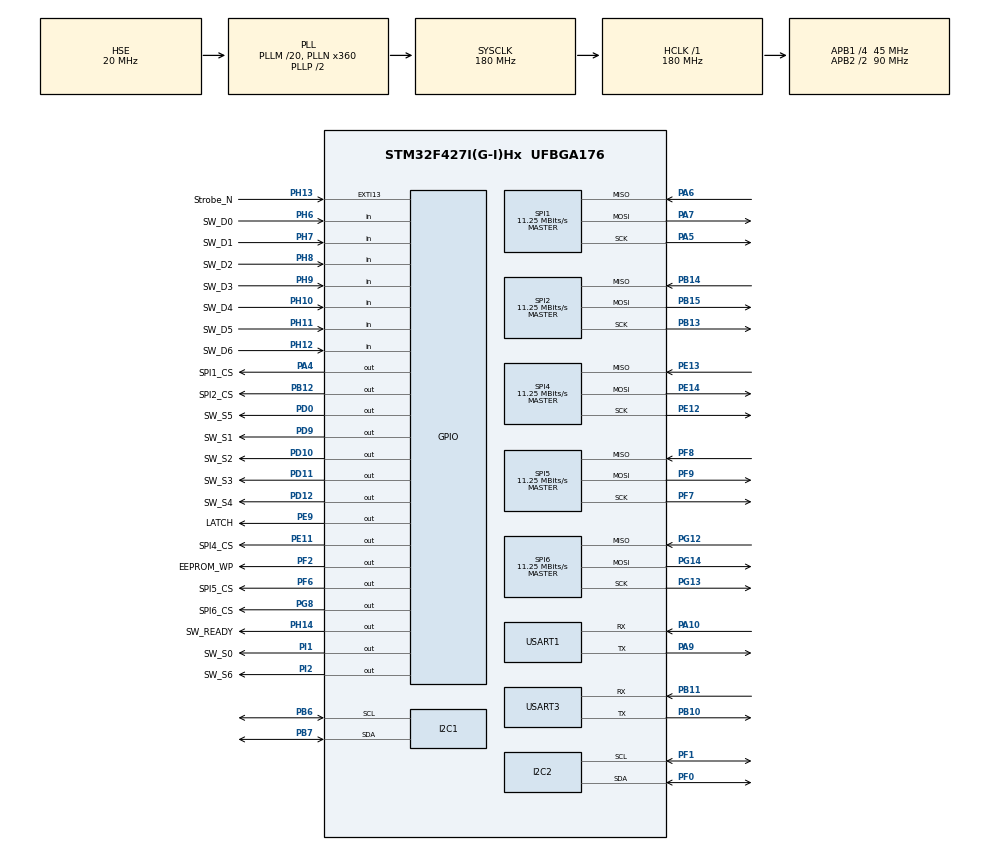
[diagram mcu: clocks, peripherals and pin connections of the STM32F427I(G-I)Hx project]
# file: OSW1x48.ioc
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ADC1.Channel-0\#ChannelRegularConversion=ADC_CHANNEL_TEMPSENSOR
ADC1.NbrOfConversionFlag=1
ADC1.Rank-0\#ChannelRegularConversion=1
ADC1.SamplingTime-0\#ChannelRegularConversion=ADC_SAMPLETIME_3CYCLES
ADC1.master=1
Dma.Request0=USART1_RX
Dma.USART1_RX.0.Direction=DMA_PERIPH_TO_MEMORY
Dma.USART1_RX.0.FIFOMode=DMA_FIFOMODE_DISABLE
Dma.USART1_RX.0.Instance=DMA2_Stream2
Dma.USART1_RX.0.MemDataAlignment=DMA_MDATAALIGN_BYTE
Dma.USART1_RX.0.MemInc=DMA_MINC_ENABLE
Dma.USART1_RX.0.Mode=DMA_NORMAL
Dma.USART1_RX.0.PeriphDataAlignment=DMA_PDATAALIGN_BYTE
Dma.USART1_RX.0.PeriphInc=DMA_PINC_DISABLE
Dma.USART1_RX.0.Priority=DMA_PRIORITY_VERY_HIGH
FREERTOS.Tasks01=defaultTask,24,128,StartDefaultTask,Default,NULL,Dynamic,NULL,NULL
IWDG.Prescaler=IWDG_PRESCALER_32
IWDG.Reload=1500
Mcu.Family=STM32F4
Mcu.Name=STM32F427I(G-I)Hx
Mcu.Package=UFBGA176
NVIC.DMA2_Stream2_IRQn=true\:5\:0\:false\:false\:true\:true\:false\:true
NVIC.EXTI15_10_IRQn=true\:5\:0\:false\:false\:true\:true\:true\:true
NVIC.FLASH_IRQn=true\:5\:0\:false\:false\:true\:true\:true\:true
NVIC.PriorityGroup=NVIC_PRIORITYGROUP_4
NVIC.TIM1_TRG_COM_TIM11_IRQn=true\:0\:0\:false\:false\:true\:false\:false\:true
NVIC.TIM6_DAC_IRQn=true\:5\:0\:false\:false\:true\:true\:true\:true
NVIC.TimeBase=TIM1_TRG_COM_TIM11_IRQn
NVIC.TimeBaseIP=TIM11
NVIC.USART1_IRQn=true\:5\:0\:false\:false\:true\:true\:true\:true
PA10.Mode=Asynchronous
PA10.Signal=USART1_RX
PA4.GPIO_Label=SPI1_CS
PA4.GPIO_PuPd=GPIO_PULLUP
PA4.Signal=GPIO_Output
PA5.Mode=Full_Duplex_Master
PA5.Signal=SPI1_SCK
PA6.Mode=Full_Duplex_Master
PA6.Signal=SPI1_MISO
PA7.Mode=Full_Duplex_Master
PA7.Signal=SPI1_MOSI
PA9.Mode=Asynchronous
PA9.Signal=USART1_TX
PB10.Mode=Asynchronous
PB10.Signal=USART3_TX
PB11.Mode=Asynchronous
PB11.Signal=USART3_RX
PB12.GPIO_Label=SPI2_CS
PB12.GPIO_PuPd=GPIO_PULLUP
PB12.Signal=GPIO_Output
PB13.Mode=Full_Duplex_Master
PB13.Signal=SPI2_SCK
PB14.Mode=Full_Duplex_Master
PB14.Signal=SPI2_MISO
PB15.Mode=Full_Duplex_Master
PB15.Signal=SPI2_MOSI
PB6.Mode=I2C
PB6.Signal=I2C1_SCL
PB7.Mode=I2C
PB7.Signal=I2C1_SDA
PC14/OSC32_IN.Mode=LSE-External-Oscillator
PC14/OSC32_IN.Signal=RCC_OSC32_IN
PC15/OSC32_OUT.Mode=LSE-External-Oscillator
PC15/OSC32_OUT.Signal=RCC_OSC32_OUT
PD0.GPIO_Label=SW_S5
PD0.GPIO_PuPd=GPIO_PULLUP
PD0.Signal=GPIO_Output
PD10.GPIO_Label=SW_S2
PD10.GPIO_PuPd=GPIO_PULLUP
PD10.Signal=GPIO_Output
PD11.GPIO_Label=SW_S3
PD11.GPIO_PuPd=GPIO_PULLUP
PD11.Signal=GPIO_Output
PD12.GPIO_Label=SW_S4
PD12.GPIO_PuPd=GPIO_PULLUP
PD12.Signal=GPIO_Output
PD9.GPIO_Label=SW_S1
PD9.GPIO_PuPd=GPIO_PULLUP
PD9.Signal=GPIO_Output
PE11.GPIO_Label=SPI4_CS
PE11.GPIO_PuPd=GPIO_PULLUP
PE11.Signal=GPIO_Output
PE12.Mode=Full_Duplex_Master
PE12.Signal=SPI4_SCK
PE13.Mode=Full_Duplex_Master
PE13.Signal=SPI4_MISO
PE14.Mode=Full_Duplex_Master
PE14.Signal=SPI4_MOSI
PE9.GPIO_Label=LATCH
PE9.Signal=GPIO_Output
PF0.Mode=I2C
PF0.Signal=I2C2_SDA
PF1.Mode=I2C
PF1.Signal=I2C2_SCL
PF2.GPIO_Label=EEPROM_WP
PF2.GPIO_PuPd=GPIO_PULLUP
PF2.Signal=GPIO_Output
PF6.GPIO_Label=SPI5_CS
PF6.GPIO_PuPd=GPIO_PULLUP
PF6.Signal=GPIO_Output
PF7.Mode=Full_Duplex_Master
PF7.Signal=SPI5_SCK
PF8.Mode=Full_Duplex_Master
PF8.Signal=SPI5_MISO
PF9.Mode=Full_Duplex_Master
PF9.Signal=SPI5_MOSI
PG12.Mode=Full_Duplex_Master
PG12.Signal=SPI6_MISO
PG13.Mode=Full_Duplex_Master
PG13.Signal=SPI6_SCK
PG14.Mode=Full_Duplex_Master
PG14.Signal=SPI6_MOSI
PG8.GPIO_Label=SPI6_CS
PG8.GPIO_PuPd=GPIO_PULLUP
PG8.Signal=GPIO_Output
PH0/OSC_IN.Mode=HSE-External-Oscillator
PH0/OSC_IN.Signal=RCC_OSC_IN
PH1/OSC_OUT.Mode=HSE-External-Oscillator
PH1/OSC_OUT.Signal=RCC_OSC_OUT
PH10.GPIO_Label=SW_D4
PH10.Signal=GPIO_Input
PH11.GPIO_Label=SW_D5
PH11.Signal=GPIO_Input
PH12.GPIO_Label=SW_D6
PH12.Signal=GPIO_Input
PH13.GPIO_Label=Strobe_N
PH13.GPIO_ModeDefaultEXTI=GPIO_MODE_IT_FALLING
PH13.GPIO_PuPd=GPIO_PULLUP
PH13.Signal=GPXTI13
PH14.GPIO_Label=SW_READY
PH14.GPIO_PuPd=GPIO_PULLUP
PH14.Signal=GPIO_Output
PH6.GPIO_Label=SW_D0
PH6.Signal=GPIO_Input
PH7.GPIO_Label=SW_D1
PH7.Signal=GPIO_Input
PH8.GPIO_Label=SW_D2
PH8.Signal=GPIO_Input
PH9.GPIO_Label=SW_D3
PH9.Signal=GPIO_Input
PI1.GPIO_Label=SW_S0
PI1.GPIO_PuPd=GPIO_PULLUP
PI1.Signal=GPIO_Output
PI2.GPIO_Label=SW_S6
PI2.GPIO_PuPd=GPIO_PULLUP
PI2.Signal=GPIO_Output
ProjectManager.HeapSize=0x200
ProjectManager.StackSize=0x400
ProjectManager.TargetToolchain=MDK-ARM V5
RCC.48MHZClocksFreq_Value=90000000
RCC.AHBFreq_Value=180000000
RCC.APB1CLKDivider=RCC_HCLK_DIV4
RCC.APB1Freq_Value=45000000
RCC.APB1TimFreq_Value=90000000
RCC.APB2CLKDivider=RCC_HCLK_DIV2
RCC.APB2Freq_Value=90000000
RCC.APB2TimFreq_Value=180000000
RCC.CortexFreq_Value=180000000
RCC.HCLKFreq_Value=180000000
RCC.HSE_VALUE=20000000
RCC.HSI_VALUE=16000000
RCC.PLLM=20
RCC.PLLN=360
RCC.PLLSourceVirtual=RCC_PLLSOURCE_HSE
RCC.RCC_RTC_Clock_Source=RCC_RTCCLKSOURCE_LSI
RCC.RCC_RTC_Clock_SourceVirtual=RCC_RTCCLKSOURCE_LSE
RCC.SYSCLKFreq_VALUE=180000000
RCC.SYSCLKSource=RCC_SYSCLKSOURCE_PLLCLK
RCC.VCOOutputFreq_Value=360000000
RTC.AsynchPrediv=127
RTC.SynchPrediv=249
SPI1.BaudRatePrescaler=SPI_BAUDRATEPRESCALER_8
SPI1.CLKPhase=SPI_PHASE_1EDGE
SPI1.CalculateBaudRate=11.25 MBits/s
SPI1.Direction=SPI_DIRECTION_2LINES
SPI1.Mode=SPI_MODE_MASTER
SPI1.VirtualType=VM_MASTER
SPI2.BaudRatePrescaler=SPI_BAUDRATEPRESCALER_4
SPI2.CalculateBaudRate=11.25 MBits/s
SPI2.Direction=SPI_DIRECTION_2LINES
SPI2.Mode=SPI_MODE_MASTER
SPI2.VirtualType=VM_MASTER
SPI4.BaudRatePrescaler=SPI_BAUDRATEPRESCALER_8
SPI4.CalculateBaudRate=11.25 MBits/s
SPI4.Direction=SPI_DIRECTION_2LINES
SPI4.Mode=SPI_MODE_MASTER
SPI4.VirtualType=VM_MASTER
SPI5.BaudRatePrescaler=SPI_BAUDRATEPRESCALER_8
SPI5.CalculateBaudRate=11.25 MBits/s
SPI5.Direction=SPI_DIRECTION_2LINES
SPI5.Mode=SPI_MODE_MASTER
SPI5.VirtualType=VM_MASTER
SPI6.BaudRatePrescaler=SPI_BAUDRATEPRESCALER_8
SPI6.CalculateBaudRate=11.25 MBits/s
SPI6.Direction=SPI_DIRECTION_2LINES
SPI6.Mode=SPI_MODE_MASTER
SPI6.VirtualType=VM_MASTER
TIM6.Period=99
TIM6.Prescaler=89
USART1.VirtualMode=VM_ASYNC
USART3.VirtualMode=VM_ASYNC
VP_ADC1_TempSens_Input.Mode=IN-TempSens
VP_FREERTOS_VS_CMSIS_V2.Mode=CMSIS_V2
VP_IWDG_VS_IWDG.Mode=IWDG_Activate
VP_RTC_VS_RTC_Activate.Mode=RTC_Enabled
VP_SYS_VS_tim11.Mode=TIM11
VP_TIM6_VS_ClockSourceINT.Mode=Enable_Timer
board=custom

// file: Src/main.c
/* USER CODE BEGIN Header */
/**
  ******************************************************************************
  * @file           : main.c
  * @brief          : Main program body
  ******************************************************************************
  * @attention
  *
  * <h2><center>&copy; Copyright (c) 2020 STMicroelectronics.
  * All rights reserved.</center></h2>
  *
  * This software component is licensed by ST under Ultimate Liberty license
  * SLA0044, the "License"; You may not use this file except in compliance with
  * the License. You may obtain a copy of the License at:
  *                             www.st.com/SLA0044
  *
  ******************************************************************************
  */
/* USER CODE END Header */

#include "main.h"
#include "cmsis_os.h"
#include "adc.h"
#include "dma.h"
#include "i2c.h"
#include "iwdg.h"
#include "rtc.h"
#include "spi.h"
#include "tim.h"
#include "usart.h"
#include "gpio.h"

/* USER CODE BEGIN PV */
uint8_t reset_flag = 0;
uint8_t flash_in_use;
UpgradeFlashState upgrade_status;

RunTimeStatus run_status __attribute__((at(0x2002FC00)));

uint8_t upgrade_bootloader = 0;
uint8_t reserve_empty = 0;
uint8_t lock_debug = 0;

SwTimControl sw_tim_control;
extern osSemaphoreId_t switchSemaphore;
MsgStruct tim_isr_msg;
/* USER CODE END PV */

void SystemClock_Config(void);
void MX_FREERTOS_Init(void);

/* USER CODE BEGIN 0 */
extern UpgradeStruct up_state;
/* USER CODE END 0 */

int main(void)
{

  /* MCU Configuration--------------------------------------------------------*/

  /* Reset of all peripherals, Initializes the Flash interface and the Systick. */
  HAL_Init();

  /* Configure the system clock */
  SystemClock_Config();

  /* Initialize all configured peripherals */
  MX_GPIO_Init();
  MX_DMA_Init();
  MX_ADC1_Init();
  MX_I2C1_Init();
  MX_I2C2_Init();
  MX_IWDG_Init();
  MX_SPI1_Init();
  MX_SPI4_Init();
  MX_SPI5_Init();
  MX_USART1_UART_Init();
  MX_USART3_UART_Init();
  MX_RTC_Init();
  MX_SPI2_Init();
  MX_SPI6_Init();
  MX_TIM6_Init();
  /* USER CODE BEGIN 2 */
  HAL_GPIO_WritePin(SPI1_CS_GPIO_Port, SPI1_CS_Pin, GPIO_PIN_SET);
  HAL_GPIO_WritePin(SPI2_CS_GPIO_Port, SPI2_CS_Pin, GPIO_PIN_SET);
  HAL_GPIO_WritePin(SPI4_CS_GPIO_Port, SPI4_CS_Pin, GPIO_PIN_SET);
  HAL_GPIO_WritePin(SPI5_CS_GPIO_Port, SPI5_CS_Pin, GPIO_PIN_SET);
  HAL_GPIO_WritePin(SPI6_CS_GPIO_Port, SPI6_CS_Pin, GPIO_PIN_SET);

  HAL_GPIO_WritePin(EEPROM_WP_GPIO_Port, EEPROM_WP_Pin, GPIO_PIN_RESET);

  run_status.internal_exp = 0;
  Set_Flag(&run_status.internal_exp, INT_EXP_CONST);
  /* USER CODE END 2 */
  /* Init scheduler */
  osKernelInitialize();

  /* Call init function for freertos objects (in freertos.c) */
  MX_FREERTOS_Init();

  /* Start scheduler */
  osKernelStart();

  /* We should never get here as control is now taken by the scheduler */

  /* Infinite loop */
  while (1)
  {

  }
}

void SystemClock_Config(void)
{
  RCC_OscInitTypeDef RCC_OscInitStruct = {0};
  RCC_ClkInitTypeDef RCC_ClkInitStruct = {0};
  RCC_PeriphCLKInitTypeDef PeriphClkInitStruct = {0};

  /** Configure the main internal regulator output voltage
  */
  __HAL_RCC_PWR_CLK_ENABLE();
  __HAL_PWR_VOLTAGESCALING_CONFIG(PWR_REGULATOR_VOLTAGE_SCALE1);
  /** Initializes the CPU, AHB and APB busses clocks
  */
  RCC_OscInitStruct.OscillatorType = RCC_OSCILLATORTYPE_LSI|RCC_OSCILLATORTYPE_HSE;
  RCC_OscInitStruct.HSEState = RCC_HSE_ON;
  RCC_OscInitStruct.LSIState = RCC_LSI_ON;
  RCC_OscInitStruct.PLL.PLLState = RCC_PLL_ON;
  RCC_OscInitStruct.PLL.PLLSource = RCC_PLLSOURCE_HSE;
  RCC_OscInitStruct.PLL.PLLM = 20;
  RCC_OscInitStruct.PLL.PLLN = 360;
  RCC_OscInitStruct.PLL.PLLP = RCC_PLLP_DIV2;
  RCC_OscInitStruct.PLL.PLLQ = 4;
  if (HAL_RCC_OscConfig(&RCC_OscInitStruct) != HAL_OK)
  {
    Error_Handler();
  }
  /** Activate the Over-Drive mode
  */
  if (HAL_PWREx_EnableOverDrive() != HAL_OK)
  {
    Error_Handler();
  }
  /** Initializes the CPU, AHB and APB busses clocks
  */
  RCC_ClkInitStruct.ClockType = RCC_CLOCKTYPE_HCLK|RCC_CLOCKTYPE_SYSCLK
                              |RCC_CLOCKTYPE_PCLK1|RCC_CLOCKTYPE_PCLK2;
  RCC_ClkInitStruct.SYSCLKSource = RCC_SYSCLKSOURCE_PLLCLK;
  RCC_ClkInitStruct.AHBCLKDivider = RCC_SYSCLK_DIV1;
  RCC_ClkInitStruct.APB1CLKDivider = RCC_HCLK_DIV4;
  RCC_ClkInitStruct.APB2CLKDivider = RCC_HCLK_DIV2;

  if (HAL_RCC_ClockConfig(&RCC_ClkInitStruct, FLASH_LATENCY_5) != HAL_OK)
  {
    Error_Handler();
  }
  PeriphClkInitStruct.PeriphClockSelection = RCC_PERIPHCLK_RTC;
  PeriphClkInitStruct.RTCClockSelection = RCC_RTCCLKSOURCE_LSI;
  if (HAL_RCCEx_PeriphCLKConfig(&PeriphClkInitStruct) != HAL_OK)
  {
    Error_Handler();
  }
}

/* USER CODE BEGIN 4 */

extern RespondStu resp_buf;
void OSW_Init(void)
{
  osStatus_t status;

  // Init device
  HAL_GPIO_WritePin(SW_READY_GPIO_Port, SW_READY_Pin, GPIO_PIN_SET);
  HAL_GPIO_WritePin(SW_S0_GPIO_Port, SW_S0_Pin, GPIO_PIN_SET);
  HAL_GPIO_WritePin(SW_S1_GPIO_Port, SW_S1_Pin, GPIO_PIN_SET);
  HAL_GPIO_WritePin(SW_S2_GPIO_Port, SW_S2_Pin, GPIO_PIN_SET);
  HAL_GPIO_WritePin(SW_S3_GPIO_Port, SW_S3_Pin, GPIO_PIN_SET);
  HAL_GPIO_WritePin(SW_S4_GPIO_Port, SW_S4_Pin, GPIO_PIN_SET);
  HAL_GPIO_WritePin(SW_S5_GPIO_Port, SW_S5_Pin, GPIO_PIN_SET);
  HAL_GPIO_WritePin(SW_S6_GPIO_Port, SW_S6_Pin, GPIO_PIN_SET);
  HAL_GPIO_WritePin(LATCH_GPIO_Port, LATCH_Pin, GPIO_PIN_SET);
  osDelay(pdMS_TO_TICKS(1));
  HAL_GPIO_WritePin(LATCH_GPIO_Port, LATCH_Pin, GPIO_PIN_RESET);
  Init_Run_Status();
  //THROW_LOG("Startup with POWER Reset\n");

  // upgrade
  up_state.run = RUN_MODE_APPLICATION;
  up_state.is_erasing = 0;
  flash_in_use = 0;

  FLASH_If_Init();
  status = Get_Up_Status(&upgrade_status);
  if (status) {
    EPT("Get upgrade status failed, status = %d\n", status);
    THROW_LOG("Get upgrade status failed, status = %d\n", status);
    Set_Flag(&run_status.internal_exp, INT_EXP_INIT);
  }
  EPT("upgrade_status: %#X, %u, %u, %u, %#X, %u, %#X\n", upgrade_status.magic, upgrade_status.run, upgrade_status.flash_empty, upgrade_status.length, upgrade_status.crc32,\
                upgrade_status.factory_length, upgrade_status.factory_crc32);

  if (upgrade_status.magic != UPGRADE_MAGIC) {
    EPT("Verify upgrade magic failed\n");
    THROW_LOG("Verify upgrade magic failed\n");
  }
  switch (upgrade_status.run) {
    case 0:
      EPT("Boot from factory\n");
      up_state.upgrade_addr = APPLICATION_1_ADDRESS;
      up_state.upgrade_sector = APPLICATION_1_SECTOR;
      break;
    case 1:
      EPT("Boot from Application 1\n");
      up_state.upgrade_addr = APPLICATION_2_ADDRESS;
      up_state.upgrade_sector = APPLICATION_2_SECTOR;
      break;
    case 2:
      EPT("Boot from Application 2\n");
      up_state.upgrade_addr = APPLICATION_1_ADDRESS;
      up_state.upgrade_sector = APPLICATION_1_SECTOR;
      break;
    default:
      EPT("f_state.run invalid\n");
      THROW_LOG("f_state.run invalid\n");
      up_state.upgrade_addr = RESERVE_ADDRESS;
      up_state.upgrade_sector = RESERVE_SECTOR;
      break;
  }
  EPT("FLASH->OPTCR = %#X\n", FLASH->OPTCR);
  if (!upgrade_status.flash_empty) {
    // erase flash
    EPT("flash is not empty\n");
    if (up_state.upgrade_addr != RESERVE_ADDRESS) {
      if (FLASH_If_Erase_IT(up_state.upgrade_sector) == FLASHIF_OK) {
        flash_in_use = 1;
        up_state.is_erasing = 1;
        EPT("erase sector...\n");
      } else {
        Set_Flag(&run_status.internal_exp, INT_EXP_UP_ERASE);
      }
    }
  } else {
    EPT("flash is empty\n");
  }

  // enable all channel of dac5504
  RTOS_DAC5504_SPI1_Write(7, 0x3C);
  RTOS_DAC5504_SPI2_Write(7, 0x3C);
  RTOS_DAC5504_SPI5_Write(7, 0x3C);
  RTOS_DAC5504_SPI6_Write(7, 0x3C);
}

extern FLASH_ProcessTypeDef pFlash;
extern osMessageQueueId_t mid_ISR;
extern osMessageQueueId_t mid_SwISR;
extern osSemaphoreId_t logEraseSemaphore;
void HAL_FLASH_EndOfOperationCallback(uint32_t ReturnValue)
{
  MsgStruct isr_msg;
  if (0xFFFFFFFFU == ReturnValue) {
    EPT("Erase flash operation completely\n");
    HAL_FLASH_Lock();
    flash_in_use = 0;
    if (up_state.is_erasing == 0) {
      // send signal to logTask
      //osSemaphoreRelease(logEraseSemaphore);
    } else {
      if (!upgrade_bootloader) {
        upgrade_status.flash_empty = 1;
        up_state.is_erasing = 0;
        isr_msg.type = MSG_TYPE_FLASH_ISR;
        osMessageQueuePut(mid_ISR, &isr_msg, 0U, 0U);
      } else {
        reserve_empty = 1;
        up_state.is_erasing = 0;
      }
    }
  }
}
void HAL_GPIO_EXTI_Callback(uint16_t GPIO_Pin)
{
  MsgStruct isr_msg;

  if (GPIO_Pin == Strobe_N_Pin) {
    isr_msg.type = MSG_TYPE_SWITCH_ISR;
    osMessageQueuePut(mid_ISR, &isr_msg, 0U, 0U);
  }
}

/* USER CODE END 4 */

void HAL_TIM_PeriodElapsedCallback(TIM_HandleTypeDef *htim)
{
  if (htim->Instance == TIM11) {
    HAL_IncTick();
  }
  /* USER CODE BEGIN Callback 1 */
  if (htim->Instance == TIM6) {
    if (++sw_tim_control.counter < sw_tim_control.time) {
    } else {
      HAL_TIM_Base_Stop_IT(&htim6);
      tim_isr_msg.type = MSG_TYPE_SWITCH_DAC_ISR;
      osMessageQueuePut(mid_SwISR, &tim_isr_msg, 0U, 0U);
      sw_tim_control.counter = 0;
    }
  }
  /* USER CODE END Callback 1 */
}

void Error_Handler(void)
{
}

/************************ (C) COPYRIGHT STMicroelectronics *****END OF FILE****/

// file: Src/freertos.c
/* USER CODE BEGIN Header */
/**
  ******************************************************************************
  * File Name          : freertos.c
  * Description        : Code for freertos applications
  ******************************************************************************
  * @attention
  *
  * <h2><center>&copy; Copyright (c) 2020 STMicroelectronics.
  * All rights reserved.</center></h2>
  *
  * This software component is licensed by ST under Ultimate Liberty license
  * SLA0044, the "License"; You may not use this file except in compliance with
  * the License. You may obtain a copy of the License at:
  *                             www.st.com/SLA0044
  *
  ******************************************************************************
  */
/* USER CODE END Header */

#include "FreeRTOS.h"
#include "task.h"
#include "main.h"
#include "cmsis_os.h"

/* USER CODE BEGIN Includes */
#include "command.h"
#include "iwdg.h"
#include "flash_if.h"
#include "functions.h"
#include "tim.h"

/* USER CODE END Includes */

/* USER CODE BEGIN Variables */
osSemaphoreId_t uartProcessSemaphore;
osSemaphoreId_t cmdProcessSemaphore;
osSemaphoreId_t switchSemaphore;

osMessageQueueId_t mid_ISR;                // message queue id
osMessageQueueId_t mid_SwISR;                // message queue id

osMutexId_t i2c1Mutex;
osMutexId_t i2c2Mutex;
osMutexId_t spi1Mutex;
osMutexId_t spi2Mutex;
osMutexId_t spi4Mutex;
osMutexId_t spi5Mutex;
osMutexId_t spi6Mutex;
const osMutexAttr_t Thread_Mutex_attr = {
  "Mutex",                              // human readable mutex name
  osMutexPrioInherit,                       // attr_bits
  NULL,                                     // memory for control block
  0U                                        // size for control block
};

osThreadId_t cmdProcessTaskHandle;
const osThreadAttr_t cmdProcessTask_attributes = {
  .name = "cmdProcessTask",
  .priority = (osPriority_t) CMD_PROCESS_PRIORITY,
  .stack_size = 2048
};

osThreadId_t uartProcessTaskHandle;
const osThreadAttr_t uartProcessTask_attributes = {
  .name = "uartProcessTask",
  .priority = (osPriority_t) UART_PROCESS_PRIORITY,
  .stack_size = 1024
};

osThreadId_t watchdogTaskHandle;
const osThreadAttr_t watchdogTask_attributes = {
  .name = "watchdogTask",
  .priority = (osPriority_t) WATCHDOG_PRIORITY,
  .stack_size = 512
};

osThreadId_t isrTaskHandle;
const osThreadAttr_t isrTask_attributes = {
  .name = "isrTask",
  .priority = (osPriority_t) INTERRUPT_TASK_PRIORITY,
  .stack_size = 1024
};

osThreadId_t swIsrTaskHandle;
const osThreadAttr_t swIsrTask_attributes = {
  .name = "swIsrTask",
  .priority = (osPriority_t) INTERRUPT_TASK_PRIORITY,
  .stack_size = 1024
};

/* USER CODE END Variables */
/* Definitions for defaultTask */
osThreadId_t defaultTaskHandle;
const osThreadAttr_t defaultTask_attributes = {
  .name = "defaultTask",
  .priority = (osPriority_t) osPriorityNormal,
  .stack_size = 128
};

/* USER CODE BEGIN FunctionPrototypes */
void uartProcessTask(void *argument);
void cmdProcessTask(void *argument);
void watchdogTask(void *argument);
void isrTask(void *argument);
void swIsrTask(void *argument);

/* USER CODE END FunctionPrototypes */

void StartDefaultTask(void *argument);

void MX_FREERTOS_Init(void); /* (MISRA C 2004 rule 8.1) */

void MX_FREERTOS_Init(void) {

  /* USER CODE BEGIN RTOS_SEMAPHORES */
  /* add semaphores, ... */
  uartProcessSemaphore = osSemaphoreNew(1U, 0U, NULL);
  if (uartProcessSemaphore == NULL) {
    Set_Flag(&run_status.internal_exp, INT_EXP_INIT);
  }

  cmdProcessSemaphore = osSemaphoreNew(1U, 0U, NULL);
  if (cmdProcessSemaphore == NULL) {
    Set_Flag(&run_status.internal_exp, INT_EXP_INIT);
  }

  switchSemaphore = osSemaphoreNew(1U, 0U, NULL);
  if (switchSemaphore == NULL) {
    Set_Flag(&run_status.internal_exp, INT_EXP_INIT);
  }

  mid_ISR = osMessageQueueNew(ISR_QUEUE_LENGTH, sizeof(MsgStruct), NULL);
  if (mid_ISR == NULL) {
    Set_Flag(&run_status.internal_exp, INT_EXP_INIT);
  }

  mid_SwISR = osMessageQueueNew(SW_ISR_QUEUE_LENGTH, sizeof(MsgStruct), NULL);
  if (mid_SwISR == NULL) {
    Set_Flag(&run_status.internal_exp, INT_EXP_INIT);
  }

  i2c1Mutex = osMutexNew(&Thread_Mutex_attr);
  if (i2c1Mutex == NULL) {
    Set_Flag(&run_status.internal_exp, INT_EXP_INIT);
  }

  i2c2Mutex = osMutexNew(&Thread_Mutex_attr);
  if (i2c2Mutex == NULL) {
    Set_Flag(&run_status.internal_exp, INT_EXP_INIT);
  }

  spi1Mutex = osMutexNew(&Thread_Mutex_attr);
  if (spi1Mutex == NULL) {
    Set_Flag(&run_status.internal_exp, INT_EXP_INIT);
  }

  spi2Mutex = osMutexNew(&Thread_Mutex_attr);
  if (spi2Mutex == NULL) {
    Set_Flag(&run_status.internal_exp, INT_EXP_INIT);
  }

  spi4Mutex = osMutexNew(&Thread_Mutex_attr);
  if (spi4Mutex == NULL) {
    Set_Flag(&run_status.internal_exp, INT_EXP_INIT);
  }

  spi5Mutex = osMutexNew(&Thread_Mutex_attr);
  if (spi5Mutex == NULL) {
    Set_Flag(&run_status.internal_exp, INT_EXP_INIT);
  }

  spi6Mutex = osMutexNew(&Thread_Mutex_attr);
  if (spi6Mutex == NULL) {
    Set_Flag(&run_status.internal_exp, INT_EXP_INIT);
  }

  /* USER CODE END RTOS_SEMAPHORES */

  /* Create the thread(s) */
  /* creation of defaultTask */
  defaultTaskHandle = osThreadNew(StartDefaultTask, NULL, &defaultTask_attributes);

  /* USER CODE BEGIN RTOS_THREADS */
  /* add threads, ... */
  uartProcessTaskHandle = osThreadNew(uartProcessTask, NULL, &uartProcessTask_attributes);
  cmdProcessTaskHandle = osThreadNew(cmdProcessTask, NULL, &cmdProcessTask_attributes);
  watchdogTaskHandle = osThreadNew(watchdogTask, NULL, &watchdogTask_attributes);
  isrTaskHandle = osThreadNew(isrTask, NULL, &isrTask_attributes);
  swIsrTaskHandle = osThreadNew(swIsrTask, NULL, &swIsrTask_attributes);

  /* USER CODE END RTOS_THREADS */

}

void StartDefaultTask(void *argument)
{
  for(;;)
  {
    osDelay(1);
  }
}

/* USER CODE BEGIN Application */
extern TransStu trans_buf;
extern RespondStu resp_buf;
struct UartTaskSync{
  uint8_t ProcessOnGoing;
  uint8_t ProcessTimeout;
} uart_sync;

void uartProcessTask(void *argument)
{
  uint32_t msg_length;
  uint32_t msg_id;
  uint32_t chk;
  uint32_t wait_time;
  uint32_t *p32;
  osStatus_t status;

  CLEAR_BIT(huart1.Instance->SR, USART_SR_RXNE);
  __HAL_UART_FLUSH_DRREGISTER(&huart1);
  HAL_UART_Receive_IT(&huart1, trans_buf.buf, 1);

  uart_sync.ProcessTimeout = 0;
  uart_sync.ProcessOnGoing = 0;
  trans_buf.stage = TRANS_WAIT_START;

  for(;;)
  {
    if (trans_buf.stage == TRANS_WAIT_START) {
      wait_time = osWaitForever;
    } else if (trans_buf.stage == TRANS_WAIT_HEADER) {
      wait_time = pdMS_TO_TICKS(TRANS_WAIT_HEAD_TIME);
    } else if (trans_buf.stage == TRANS_RECV_DATA) {
      wait_time = pdMS_TO_TICKS(TRANS_WAIT_TIME);
    }
    status = osSemaphoreAcquire(uartProcessSemaphore, wait_time);
    if (status != osOK) {
      HAL_UART_DMAStop(&huart1);
      EPT("DMA timeout, stage = %u, ErrorCode = %#X\n", trans_buf.stage, huart1.ErrorCode);
      THROW_LOG("DMA timeout, stage = %u, ErrorCode = %#X\n", trans_buf.stage, huart1.ErrorCode);
      Uart_Respond(msg_id, RESPOND_LENGTH_ERR, NULL, 0);
      trans_buf.stage = TRANS_WAIT_START;
      HAL_UART_Receive_IT(&huart1, trans_buf.buf, 1);
      continue;
    }

    if (trans_buf.stage == TRANS_WAIT_START) {
      // Received start byte
      if (trans_buf.buf[0] != TRANS_START_BYTE) {
        // Invalid data
        EPT("Invalid character: %#X\n", trans_buf.buf[0]);
        HAL_UART_Receive_IT(&huart1, trans_buf.buf, 1);
      } else {
        // Prepare to receive message header
        msg_id = 0;
        trans_buf.stage = TRANS_WAIT_HEADER;
        HAL_UART_Receive_DMA(&huart1, &trans_buf.buf[CMD_SEQ_MSG_ID], 8);
      }
    } else if (trans_buf.stage == TRANS_WAIT_HEADER) {
      // Received message header
      p32 = (uint32_t*)&trans_buf.buf[CMD_SEQ_MSG_ID];
      msg_id = switch_endian(*p32);
      p32 = (uint32_t*)&trans_buf.buf[CMD_SEQ_MSG_LENGTH];
      msg_length = switch_endian(*p32);
      if (msg_length > TRANS_MAX_LENGTH - 1 || msg_length < 4 * 5) {
        // Length invalid
        PRINT_HEX("buf", trans_buf.buf, 9);
        EPT("Invalid length %#X\n", msg_length);
        THROW_LOG("Invalid length %#X\n", msg_length);
        Uart_Respond(msg_id, RESPOND_LENGTH_ERR, NULL, 0);
        trans_buf.stage = TRANS_WAIT_START;
        HAL_UART_Receive_IT(&huart1, trans_buf.buf, 1);
      } else {
        trans_buf.stage = TRANS_RECV_DATA;
        HAL_UART_Receive_DMA(&huart1, &trans_buf.buf[CMD_SEQ_MSG_DATA], msg_length - 8);
        //EPT("Message Length: %u, ID: %u\n", msg_length, msg_id);
        trans_buf.length = msg_length + 1;
      }
    } else if (trans_buf.stage == TRANS_RECV_DATA){
      // Received message data

      // TODO: Check CRC
      chk = Cal_CRC32((uint8_t*)&trans_buf.buf[CMD_SEQ_MSG_ID], trans_buf.length - 4 - 1);
      p32 = (uint32_t*)&trans_buf.buf[trans_buf.length - 4];
      if (chk ^ switch_endian(*p32)) {
        // Incorrect
        THROW_LOG("UART CRC32 verification failed, msg_length = %#X, trans_buf.length = %#X, chk = %#X, rcv_chk = %#X\n",\
          msg_length, trans_buf.length, chk, switch_endian(*(uint32_t*)&trans_buf.buf[trans_buf.length - 4]));
        EPT("UART CRC32 verification failed\n");
        EPT("msg_length = %#X, trans_buf.length = %#X, chk = %#X, rcv_chk = %#X\n", msg_length, trans_buf.length, chk, switch_endian((uint32_t)trans_buf.buf[trans_buf.length - 4]));
        PRINT_HEX("buf", trans_buf.buf, trans_buf.length);
        FILL_RESP_MSG(msg_id, RESPOND_CHECKSUM_ERR, 0);
      } else {
        if (!uart_sync.ProcessOnGoing) {
          // Process Command and Respond
          xTaskNotifyGive(cmdProcessTaskHandle);
          status = osSemaphoreAcquire(cmdProcessSemaphore, pdMS_TO_TICKS(COMMAND_PROCESS_TIME));
          if (status == osErrorTimeout) {
            // TODO: Process command timeout
            THROW_LOG("Process command %#X timeout\n", msg_id);
            EPT("Process command timeout\n");
            uart_sync.ProcessTimeout = 1;
            FILL_RESP_MSG(msg_id, RESPOND_LENGTH_ERR, 0);
          } else if (status != osOK) {
            EPT("Error, status=%#X\n", status);
            THROW_LOG("Error, status=%#X\n", status);
            FILL_RESP_MSG(msg_id, RESPOND_LENGTH_ERR, 0);
          } else {
            // success
          }
        } else {
            EPT("Detected process is ongoing\n");
            THROW_LOG("Detected process is ongoing\n");
            FILL_RESP_MSG(msg_id, RESPOND_LENGTH_ERR, 0);
        }
      }

      trans_buf.stage = TRANS_WAIT_START;
      HAL_UART_Receive_IT(&huart1, trans_buf.buf, 1);
      Uart_Respond(resp_buf.cmd, resp_buf.status, resp_buf.buf, resp_buf.length);
    }
  }
}

void cmdProcessTask(void *argument)
{
  for (;;)
  {
    ulTaskNotifyTake(pdTRUE, portMAX_DELAY);
    if (trans_buf.stage != TRANS_RECV_DATA) {
      EPT("Stage incorrect\n");
      THROW_LOG("Stage incorrect\n");
      continue;
    }

    uart_sync.ProcessOnGoing = 1;
    Cmd_Process();

    if (uart_sync.ProcessTimeout == 0) {
      osSemaphoreRelease(cmdProcessSemaphore);
      //Uart_Respond(resp_buf.cmd, resp_buf.status, resp_buf.buf, resp_buf.length);
    } else {
      EPT("Detected process timeout\n");
      THROW_LOG("Detected process timeout\n");
      uart_sync.ProcessTimeout = 0;
    }

    uart_sync.ProcessOnGoing = 0;
  }
}

void watchdogTask(void *argument)
{
  uint32_t delay = pdMS_TO_TICKS(WATCH_DOG_DELAY_TIME);

  HAL_IWDG_Refresh(&hiwdg);
  for(;;)
  {
    osDelay(delay);
    HAL_IWDG_Refresh(&hiwdg);
  }
}

extern UpgradeFlashState upgrade_status;
void isrTask(void *argument)
{
  osStatus_t status;
  MsgStruct msg;
  uint32_t switch_channel;

  OSW_Init();

  Set_Switch_Ready();

  for (;;)
  {
    status = osMessageQueueGet(mid_ISR, &msg, 0U, osWaitForever);
    if (status != osOK)
      continue;

    if (msg.type == MSG_TYPE_FLASH_ISR) {
      EPT("Received MSG_TYPE_FLASH_ISR, flash_empty = %u\n", upgrade_status.flash_empty);
      status = Update_Up_Status(&upgrade_status);
      if (status != osOK) {
        EPT("Update upgrade status to eeprom failed\n");
      }
    } else if (msg.type == MSG_TYPE_SWITCH_ISR) {
      switch_channel = Get_Switch_Channel_By_IO();
      EPT("Switch number is %u\n", switch_channel);
      if (switch_channel < 1 || switch_channel > 49) {
        EPT("Invalid switch chennel\n");
        THROW_LOG("Invalid switch chennel = %u [io]\n", switch_channel);
        continue;
      }

      if (switch_channel == run_status.switch_channel) {
        continue;
      }

      Clear_Switch_Ready();
      if (Set_Switch(switch_channel)) {
        run_status.switch_channel = 49;
        if (!Is_Flag_Set(&run_status.internal_exp, EXP_SWITCH)) {
          THROW_LOG("Switch abnormal\n");
          Set_Flag(&run_status.internal_exp, EXP_SWITCH);
        }
        continue;
      }

      run_status.switch_channel = switch_channel;
      Set_Switch_Signal();
      osDelay(pdMS_TO_TICKS(1));

      Set_Switch_Ready();
    }
  }
}

void swIsrTask(void *argument)
{
  osStatus_t status;
  MsgStruct msg;

  for (;;)
  {
    status = osMessageQueueGet(mid_SwISR, &msg, 0U, osWaitForever);
    if (status != osOK)
      continue;

    if (msg.type == MSG_TYPE_SWITCH_DAC_ISR) {
      if (sw_tim_control.cur_x < sw_tim_control.dst_x) {
        sw_tim_control.cur_x = (sw_tim_control.dst_x - sw_tim_control.cur_x > sw_tim_control.step) ?\
                                (sw_tim_control.cur_x + sw_tim_control.step) : (sw_tim_control.dst_x);
      } else if (sw_tim_control.cur_x > sw_tim_control.dst_x) {
        sw_tim_control.cur_x = (sw_tim_control.cur_x - sw_tim_control.dst_x > sw_tim_control.step) ?\
                                (sw_tim_control.cur_x - sw_tim_control.step) : (sw_tim_control.dst_x);
      }

      if (sw_tim_control.cur_y < sw_tim_control.dst_y) {
        sw_tim_control.cur_y = (sw_tim_control.dst_y - sw_tim_control.cur_y > sw_tim_control.step) ?\
                                (sw_tim_control.cur_y + sw_tim_control.step) : (sw_tim_control.dst_y);
      } else if (sw_tim_control.cur_y > sw_tim_control.dst_y) {
        sw_tim_control.cur_y = (sw_tim_control.cur_y - sw_tim_control.dst_y > sw_tim_control.step) ?\
                                (sw_tim_control.cur_y - sw_tim_control.step) : (sw_tim_control.dst_y);
      }

      set_sw_dac_2(sw_tim_control.sw_num, sw_tim_control.cur_x, sw_tim_control.cur_y);

      if (sw_tim_control.cur_x == sw_tim_control.dst_x && sw_tim_control.cur_y == sw_tim_control.dst_y) {
        // HAL_TIM_Base_Stop_IT(&htim6);
        osSemaphoreRelease(switchSemaphore);
      } else {
        HAL_TIM_Base_Start_IT(&htim6);
      }
    }
  }
}

/* USER CODE END Application */

/************************ (C) COPYRIGHT STMicroelectronics *****END OF FILE****/
